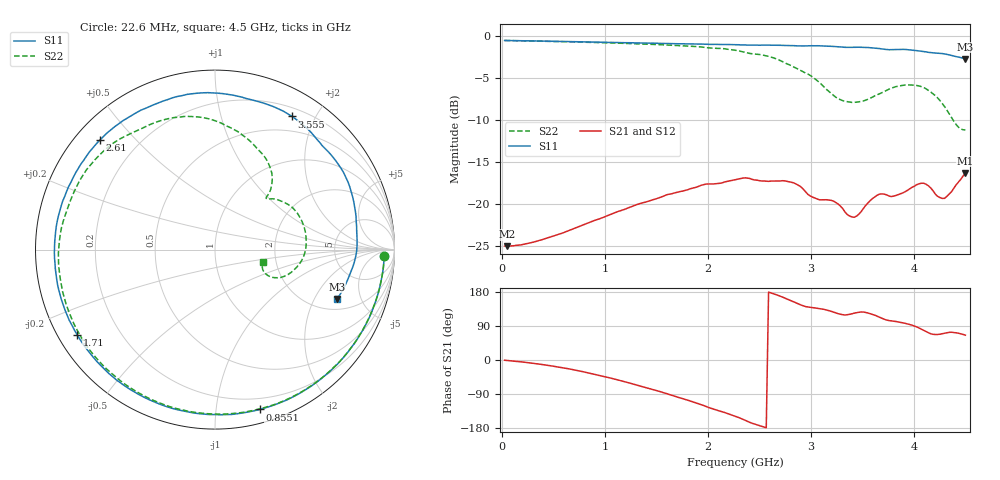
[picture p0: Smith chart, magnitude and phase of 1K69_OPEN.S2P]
!Agilent Technologies,E5071C,MY46101151,A.11.34
!Date: Mon Sep 17 23:28:35 2018
!Data & Calibration Information:
!Freq	S11:SOLT2(ON)	S21:SOLT2(ON)	S12:SOLT2(ON)	S22:SOLT2(ON)
!PortZ  Port1:50+j0  Port2:50+j0
!Above PortZ is port z conversion or system Z0 setting when saving the data.
!When reading, reference impedance value at option line is always used.
# Hz S dB R 50
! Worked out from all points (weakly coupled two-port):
!   200 points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, 22.6 MHz to 4.5 GHz, reference 50 ohm
!   highest |S21| = -16.30 dB at 4.5 GHz (marker M1); lowest = -25.0 dB at 45.1 MHz (marker M2)
!   lowest |S11| = -2.7 dB at 4.5 GHz (marker M3), VSWR 6.50, Z = 130 - j154 ohm
!   |S11| at or under -10 dB: nowhere
!   |S22| runs from -11.2 to -0.5 dB; largest |S21 - S12| = 0.00061
!   S11 on the Smith chart (normalised r, x): 22.6 MHz: 25, -15; 855.1 MHz: 0.11, -1.31; 1.71 GHz: 0.06, -0.28; 2.61 GHz: 0.07, +0.40; 3.555 GHz: 0.30, +1.69; 4.5 GHz: 2.60, -3.09
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2.25995e7  -0.50 -2.0  -25.01 -0.6  -25.04 -0.4  -0.50 -2.1
4.5099e7  -0.51 -4.0  -25.03 -1.2  -25.03 -1.1  -0.50 -4.2
3.825915e8  -0.57 -33.4  -24.27 -11.7  -24.28 -11.8  -0.59 -35.5
5.85087e8  -0.62 -51.0  -23.47 -20.5  -23.47 -20.5  -0.64 -54.4
7.875825e8  -0.66 -68.6  -22.48 -31.1  -22.49 -31.0  -0.70 -73.4
8.55081e8  -0.68 -74.4  -22.16 -35.1  -22.16 -35.2  -0.72 -79.9
1.192574e9  -0.76 -103.8  -20.62 -57.5  -20.62 -57.6  -0.84 -112.5
1.530066e9  -0.84 -132.8  -19.24 -83.2  -19.25 -83.3  -1.00 -146.3
1.710062e9  -0.89 -148.3  -18.58 -98.5  -18.59 -98.5  -1.10 -164.6
1.957556e9  -0.94 -169.4  -17.69 -120.1  -17.69 -120.2  -1.31 169.3
2.27255e9  -1.00 164.2  -17.08 -149.3  -17.09 -149.4  -1.68 135.7
2.610042e9  -1.06 136.6  -17.26 177.2  -17.27 177.1  -2.48 99.7
2.812538e9  -1.11 119.9  -17.42 155.9  -17.43 155.8  -3.52 78.4
3.015033e9  -1.12 104.0  -19.18 138.3  -19.19 138.1  -4.85 59.3
3.217528e9  -1.21 87.1  -19.65 126.5  -19.67 126.5  -7.03 46.6
3.420024e9  -1.31 71.4  -21.58 123.7  -21.58 123.5  -7.87 44.8
3.555021e9  -1.34 59.9  -19.85 123.8  -19.86 123.8  -7.50 42.2
3.757516e9  -1.60 44.1  -19.05 104.1  -19.05 104.1  -6.31 30.5
4.02751e9  -1.71 21.0  -17.70 87.2  -17.69 87.1  -5.87 3.1
4.252506e9  -2.03 1.6  -19.23 68.1  -19.22 68.1  -7.66 -21.0
4.387502e9  -2.36 -11.0  -18.12 72.5  -18.12 72.5  -10.13 -25.5
4.5e9  -2.70 -22.0  -16.30 65.6  -16.30 65.6  -11.16 -14.8
